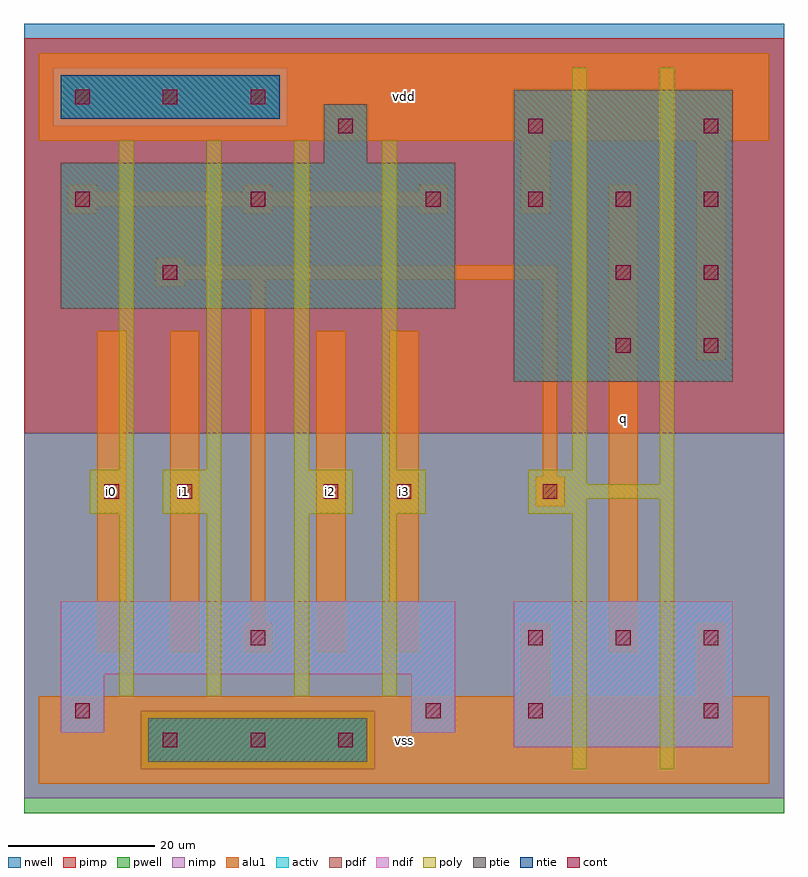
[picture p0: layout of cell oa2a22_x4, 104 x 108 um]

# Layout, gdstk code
import gdstk
lib = gdstk.Library(unit=1e-6, precision=1e-09)
def R(c, l, rs):  # rectangles x0, y0, x1, y1
    for r in rs: c.add(gdstk.rectangle(r[:2], r[2:], *l))
def A(c, l, x, y, w, h, nx, ny, dx, dy):  # array of equal rectangles
    R(c, l, [(x+i*dx, y+j*dy, x+i*dx+w, y+j*dy+h) for i in range(nx) for j in range(ny)])
ndif = (3, 0)
pdif = (4, 0)
ntie = (5, 0)
ptie = (6, 0)
cont = (25, 0)
pwell = (41, 0)
nwell = (42, 0)
activ = (43, 0)
pimp = (44, 0)
nimp = (45, 0)
poly = (46, 0)
alu1 = (49, 0)

oa2a22_x4 = lib.new_cell('oa2a22_x4')
R(oa2a22_x4, ndif, [(65,5,95,25), (3,7,9,15), (51,7,57,15), (3,15,57,25)])
R(oa2a22_x4, pdif, [(65,55,95,95), (3,65,57,85), (39,85,45,93)])
R(oa2a22_x4, ntie, [(3,91,33,97)])
R(oa2a22_x4, ptie, [(15,3,45,9)])
A(oa2a22_x4, cont, 17, 5, 2, 2, 3, 1, 12, 0)
A(oa2a22_x4, cont, 67, 19, 2, 2, 3, 2, 12, 60)
A(oa2a22_x4, cont, 5, 79, 2, 2, 3, 1, 24, 0)
A(oa2a22_x4, cont, 5, 93, 2, 2, 3, 1, 12, 0)
R(oa2a22_x4, cont, [(5,9,7,11), (53,9,55,11), (67,9,69,11), (91,9,93,11), (29,19,31,21), (9,39,11,41), (19,39,21,41), (39,39,41,41), (49,39,51,41), (69,39,71,41), (79,59,81,61), (91,59,93,61), (17,69,19,71), (79,69,81,71), (91,69,93,71), (41,89,43,91), (67,89,69,91), (91,89,93,91)])
R(oa2a22_x4, pwell, [(-2,-4,102,48)])
R(oa2a22_x4, nwell, [(-2,48,102,104)])
R(oa2a22_x4, activ, [(15,3,45,9), (65,5,95,25), (3,7,9,15), (51,7,57,15), (3,15,57,25), (65,55,95,95), (3,65,57,85), (39,85,45,93), (3,91,33,97)])
R(oa2a22_x4, pimp, [(14,2,46,10), (-2,48,102,90), (-2,90,2,98), (34,90,102,98), (-2,98,102,102)])
R(oa2a22_x4, nimp, [(-2,-2,102,2), (-2,2,14,10), (46,2,102,10), (-2,10,102,48), (2,90,34,98)])
A(oa2a22_x4, poly, 11, 12, 2, 25, 4, 1, 12, 0)
A(oa2a22_x4, poly, 11, 43, 2, 45, 4, 1, 12, 0)
R(oa2a22_x4, poly, [(73,2,75,37), (85,2,87,39), (7,37,13,43), (17,37,25,43), (35,37,43,43), (47,37,53,43), (67,37,75,39), (67,39,87,41), (67,41,75,43), (85,41,87,98), (73,43,75,98)])
A(oa2a22_x4, alu1, 4, 78, 4, 1, 3, 2, 24, 3)
R(oa2a22_x4, alu1, [(0,0,100,12), (66,12,70,22), (90,12,94,22), (8,18,12,62), (18,18,22,62), (28,18,32,22), (38,18,42,62), (48,18,52,62), (78,18,82,82), (29,22,31,69), (68,38,72,42), (69,42,71,69), (90,58,94,88), (16,68,20,69), (16,69,71,71), (16,71,20,72), (66,78,70,88), (4,79,56,81), (0,88,100,100)])
oa2a22_x4.add(gdstk.Label('i1', (20,40), layer=49, texttype=0))
oa2a22_x4.add(gdstk.Label('i0', (10,40), layer=49, texttype=0))
oa2a22_x4.add(gdstk.Label('i2', (40,40), layer=49, texttype=0))
oa2a22_x4.add(gdstk.Label('vss', (50,6), layer=49, texttype=0))
oa2a22_x4.add(gdstk.Label('i3', (50,40), layer=49, texttype=0))
oa2a22_x4.add(gdstk.Label('vdd', (50,94), layer=49, texttype=0))
oa2a22_x4.add(gdstk.Label('q', (80,50), layer=49, texttype=0))

lib.write_gds('oa2a22_x4.gds')
